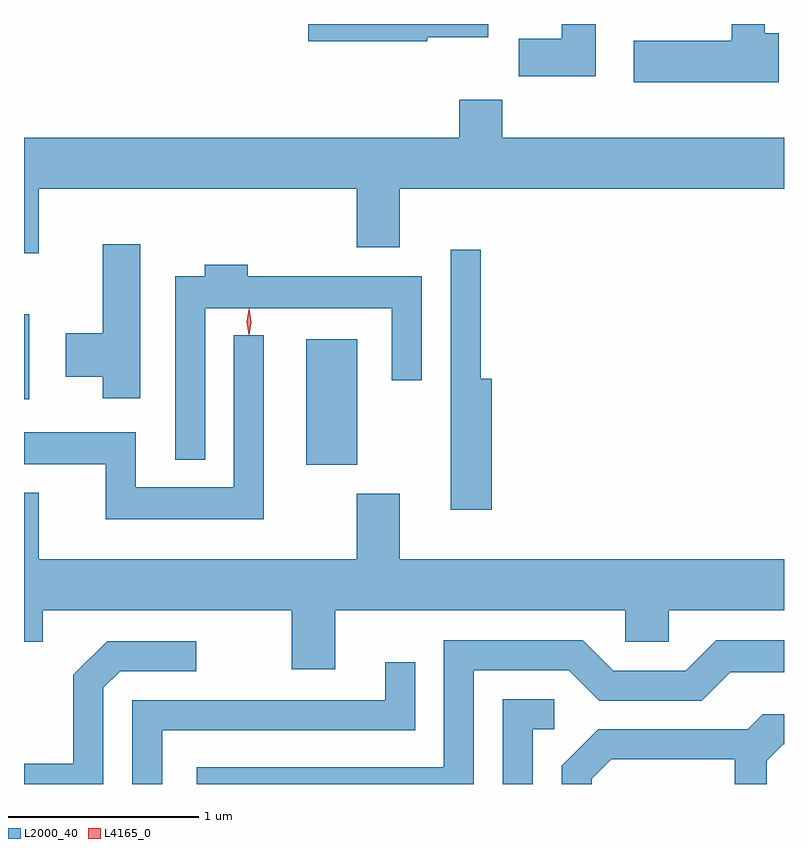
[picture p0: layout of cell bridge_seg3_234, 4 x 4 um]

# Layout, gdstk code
import gdstk
lib = gdstk.Library(unit=1e-6, precision=1e-09)
def R(c, l, rs):  # rectangles x0, y0, x1, y1
    for r in rs: c.add(gdstk.rectangle(r[:2], r[2:], *l))
def P(c, l, *ps):  # polygons
    for p in ps: c.add(gdstk.Polygon(p, *l))
L2000_40 = (2000, 40)
L4165_0 = (4165, 0)

bridge_seg3_234 = lib.new_cell('bridge_seg3_234')
R(bridge_seg3_234, L2000_40, [(928.246,1142.321,928.514,1142.984), (926.761,1142.666,926.789,1143.114)])
P(bridge_seg3_234, L2000_40, [(928.884,1144.571),(929.204,1144.571),(929.204,1144.642),(928.256,1144.642),(928.256,1144.551),(928.884,1144.551)],
  [(929.769,1144.642),(929.591,1144.642),(929.591,1144.564),(929.366,1144.564),(929.366,1144.366),(929.769,1144.366)],
  [(930.734,1144.594),(930.659,1144.594),(930.659,1144.642),(930.486,1144.642),(930.486,1144.56),(930.48,1144.56),(930.48,1144.554),(929.971,1144.554),(929.971,1144.336),(930.734,1144.336)],
  [(926.839,1143.776),(928.511,1143.776),(928.511,1143.466),(928.739,1143.466),(928.739,1143.776),(930.761,1143.776),(930.761,1144.044),(929.279,1144.044),(929.279,1144.244),(929.051,1144.244),(929.051,1144.044),(926.761,1144.044),(926.761,1143.436),(926.839,1143.436)],
  [(927.374,1143.484),(927.176,1143.484),(927.176,1143.014),(926.981,1143.014),(926.981,1142.786),(927.176,1142.786),(927.176,1142.671),(927.374,1142.671)],
  [(929.224,1142.774),(929.164,1142.774),(929.164,1143.453),(929.006,1143.453),(929.006,1142.086),(929.224,1142.086)],
  [(927.714,1143.146),(928.696,1143.146),(928.696,1142.768),(928.854,1142.768),(928.854,1143.314),(927.939,1143.314),(927.939,1143.374),(927.711,1143.374),(927.711,1143.314),(927.556,1143.314),(927.556,1142.348),(927.714,1142.348)],
  [(928.024,1143.003),(927.866,1143.003),(927.866,1142.204),(927.349,1142.204),(927.349,1142.494),(926.761,1142.494),(926.761,1142.326),(927.191,1142.326),(927.191,1142.036),(928.024,1142.036)],
  [(928.399,1141.556),(929.926,1141.556),(929.926,1141.391),(930.154,1141.391),(930.154,1141.556),(930.761,1141.556),(930.761,1141.824),(928.739,1141.824),(928.739,1142.169),(928.511,1142.169),(928.511,1141.824),(926.839,1141.824),(926.839,1142.174),(926.761,1142.174),(926.761,1141.391),(926.859,1141.391),(926.859,1141.556),(928.171,1141.556),(928.171,1141.246),(928.399,1141.246)],
  [(929.129,1141.241),(929.629,1141.241),(929.789,1141.081),(930.327,1141.081),(930.477,1141.231),(930.761,1141.231),(930.761,1141.399),(930.404,1141.399),(930.244,1141.239),(929.862,1141.239),(929.702,1141.399),(928.971,1141.399),(928.971,1140.729),(927.671,1140.729),(927.671,1140.642),(929.129,1140.642)],
  [(927.179,1141.149),(927.267,1141.236),(927.668,1141.236),(927.668,1141.394),(927.199,1141.394),(927.021,1141.217),(927.021,1140.749),(926.761,1140.749),(926.761,1140.642),(927.179,1140.642)],
  [(927.489,1140.926),(928.819,1140.926),(928.819,1141.283),(928.661,1141.283),(928.661,1141.084),(927.331,1141.084),(927.331,1140.642),(927.489,1140.642)],
  [(929.439,1140.931),(929.553,1140.931),(929.553,1141.089),(929.281,1141.089),(929.281,1140.642),(929.439,1140.642)],
  [(929.749,1140.669),(929.852,1140.771),(930.501,1140.771),(930.501,1140.642),(930.669,1140.642),(930.669,1140.764),(930.757,1140.851),(930.761,1140.851),(930.761,1141.009),(930.649,1141.009),(930.569,1140.929),(929.784,1140.929),(929.591,1140.737),(929.591,1140.642),(929.749,1140.642)])
P(bridge_seg3_234, L4165_0, [(927.943,1143.007),(927.933,1143.074),(927.943,1143.14),(927.943,1143.14),(927.944,1143.14),(927.953,1143.074),(927.944,1143.007),(927.944,1143.007)],
  [(927.946,1143.004),(927.946,1143.004),(927.936,1143.073),(927.946,1143.143),(927.946,1143.143),(927.947,1143.143),(927.956,1143.073),(927.947,1143.004)])

lib.write_gds('bridge_seg3_234.gds')
